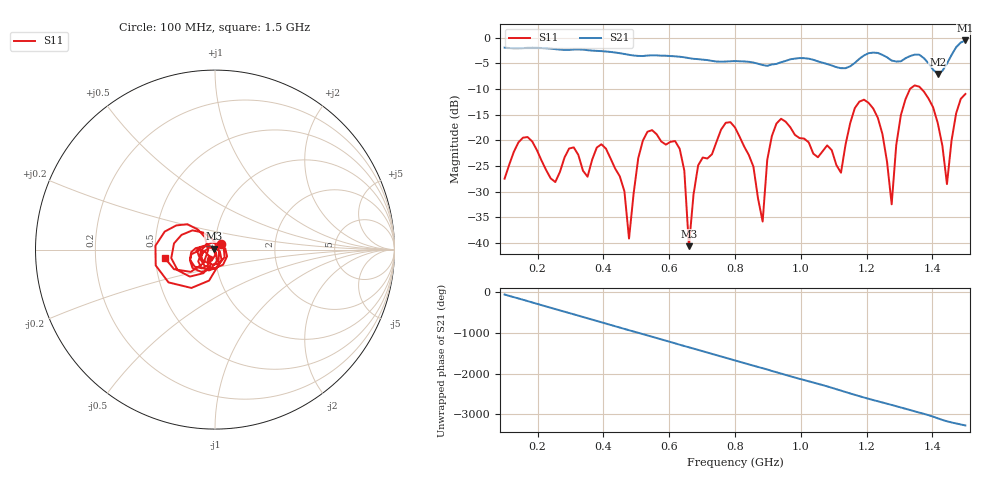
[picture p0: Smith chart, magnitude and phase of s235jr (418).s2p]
! NanoVNA-App
! Date: 2025-09-25 15:07:25
! Start: 100MHz Stop: 1,5GHz Points: 101
! S-Parameter data: F S11 S21 S12 S22
# Hz S RI R 50
!  Frequency  S11_Real  S11_Imag  S21_Real  S21_Imag  S12_Real  S12_Imag  S22_Real  S22_Imag
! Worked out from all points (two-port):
!   101 points, 100 MHz to 1.5 GHz, reference 50 ohm
!   highest |S21| = -0.57 dB at 1.5 GHz (marker M1); lowest = -7.1 dB at 1.416 GHz (marker M2)
!   |S21| within 3 dB of the highest: start of sweep to 504.4 MHz; 524.8 MHz to 595.2 MHz (70.4 MHz wide, 12.6 % of centre) (the widest 2 of 5)
!   lowest |S11| = -40.6 dB at 660 MHz (marker M3), VSWR 1.02, Z = 49.3 + j0.56 ohm
!   |S11| at or under -10 dB: start of sweep to 1.332 GHz; 1.366 GHz to end of sweep
!   S12 and S22 are empty: the file has one direction only
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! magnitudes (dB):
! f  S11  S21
! 100 MHz  -27.5  -2.0
! 170 MHz  -19.4  -2.0
! 338 MHz  -25.9  -2.4
! 408 MHz  -21.6  -2.7
! 478 MHz  -39.1  -3.4
! 520 MHz  -20.1  -3.6
! 576 MHz  -20.2  -3.5
! 632 MHz  -21.7  -3.7
! 660 MHz  -40.6  -4.0
! 688 MHz  -24.9  -4.2
! 800 MHz  -17.5  -4.6
! 884 MHz  -35.8  -5.4
! 926 MHz  -16.7  -5.1
! 1.038 GHz  -22.6  -4.3
! 1.122 GHz  -26.3  -6.0
! 1.192 GHz  -12.1  -3.5
! 1.248 GHz  -18.8  -3.4
! 1.276 GHz  -32.5  -4.5
! 1.332 GHz  -10.0  -3.6
! 1.416 GHz  -16.6  -7.1
! 1.444 GHz  -28.5  -5.1
! 1.5 GHz  -11.0  -0.6
